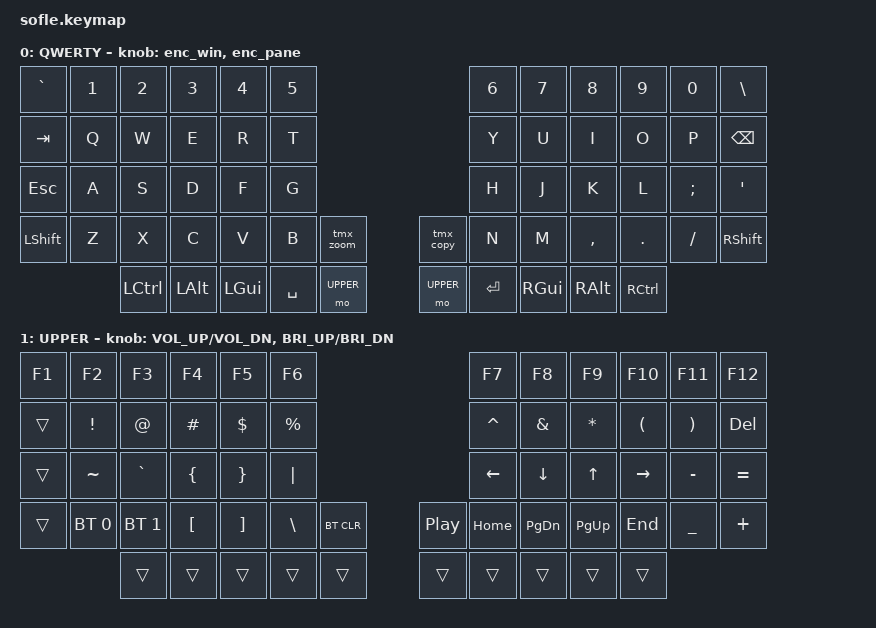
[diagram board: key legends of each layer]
/*
 * Copyright (c) 2020 The ZMK Contributors
 *
 * SPDX-License-Identifier: MIT
 */

#include <behaviors.dtsi>
#include <dt-bindings/zmk/keys.h>
#include <dt-bindings/zmk/bt.h>

#define QWERTY 0
#define UPPER  1

#define TMUX_PREFIX LC(M)

/ {
    macros {
        tmx_wn: tmx_window_next {
            label = "tmx_window_next";
            compatible = "zmk,behavior-macro";
            #binding-cells = <0>;
            wait-ms = <20>;
            tap-ms = <20>;
            bindings = <&kp TMUX_PREFIX>, <&kp U>;
        };
        tmx_wp: tmx_window_prev {
            label = "tmx_window_prev";
            compatible = "zmk,behavior-macro";
            #binding-cells = <0>;
            wait-ms = <20>;
            tap-ms = <20>;
            bindings = <&kp TMUX_PREFIX>, <&kp Y>;
        };
        tmx_pn: tmx_pane_next {
            label = "tmx_pane_next";
            compatible = "zmk,behavior-macro";
            #binding-cells = <0>;
            wait-ms = <20>;
            tap-ms = <20>;
            bindings = <&kp TMUX_PREFIX>, <&kp I>;
        };
        tmx_pp: tmx_pane_prev {
            label = "tmx_pane_prev";
            compatible = "zmk,behavior-macro";
            #binding-cells = <0>;
            wait-ms = <20>;
            tap-ms = <20>;
            bindings = <&kp TMUX_PREFIX>, <&kp H>;
        };
        tmx_zoom: tmx_zoom {
            label = "tmx_zoom";
            compatible = "zmk,behavior-macro";
            #binding-cells = <0>;
            wait-ms = <20>;
            tap-ms = <20>;
            bindings = <&kp TMUX_PREFIX>, <&kp Z>;
        };
        tmx_copy: tmx_copy {
            label = "tmx_copy";
            compatible = "zmk,behavior-macro";
            #binding-cells = <0>;
            wait-ms = <20>;
            tap-ms = <20>;
            bindings = <&kp TMUX_PREFIX>, <&kp LBKT>;
        };
    };

    behaviors {
        enc_win: encoder_window {
            compatible = "zmk,behavior-sensor-rotate";
            #sensor-binding-cells = <0>;
            bindings = <&tmx_wn>, <&tmx_wp>;
        };
        enc_pane: encoder_pane {
            compatible = "zmk,behavior-sensor-rotate";
            #sensor-binding-cells = <0>;
            bindings = <&tmx_pn>, <&tmx_pp>;
        };
    };

    keymap {
        compatible = "zmk,keymap";

        qwerty_layer {
            label = "QWERTY";
            bindings = <
/* ╭──────────┬──────────┬──────────┬──────────┬──────────┬──────────╮                     ╭──────────┬──────────┬──────────┬──────────┬──────────┬──────────╮ */
   &kp GRAVE   &kp N1     &kp N2     &kp N3     &kp N4     &kp N5                            &kp N6     &kp N7     &kp N8     &kp N9     &kp N0     &kp BSLH
/* ├──────────┼──────────┼──────────┼──────────┼──────────┼──────────┤                     ├──────────┼──────────┼──────────┼──────────┼──────────┼──────────┤ */
   &kp TAB    &kp Q      &kp W      &kp E      &kp R      &kp T                             &kp Y      &kp U      &kp I      &kp O      &kp P      &kp BSPC
/* ├──────────┼──────────┼──────────┼──────────┼──────────┼──────────┤                     ├──────────┼──────────┼──────────┼──────────┼──────────┼──────────┤ */
   &kp ESC    &kp A      &kp S      &kp D      &kp F      &kp G                             &kp H      &kp J      &kp K      &kp L      &kp SEMI   &kp SQT
/* ├──────────┼──────────┼──────────┼──────────┼──────────┼──────────┼──────────╮ ╭──────────┼──────────┼──────────┼──────────┼──────────┼──────────┼──────────┤ */
   &kp LSHFT  &kp Z      &kp X      &kp C      &kp V      &kp B      &tmx_zoom    &tmx_copy  &kp N      &kp M      &kp COMMA  &kp DOT    &kp FSLH   &kp RSHFT
/* ╰──────────┴──────────┼──────────┼──────────┼──────────┼──────────┼──────────╯ ╰──────────┼──────────┼──────────┼──────────┼──────────┼──────────╯ */
                          &kp LCTRL  &kp LALT   &kp LGUI   &kp SPACE  &mo UPPER    &mo UPPER  &kp ENTER  &kp RGUI   &kp RALT   &kp RCTRL
/* ╰──────────┴──────────┴──────────┴──────────╯                                              ╰──────────┴──────────┴──────────╯ */
            >;

            sensor-bindings = <&enc_win>, <&enc_pane>;
        };

        upper_layer {
            label = "UPPER";
            bindings = <
/* ╭──────────┬──────────┬──────────┬──────────┬──────────┬──────────╮                     ╭──────────┬──────────┬──────────┬──────────┬──────────┬──────────╮ */
   &kp F1     &kp F2     &kp F3     &kp F4     &kp F5     &kp F6                            &kp F7     &kp F8     &kp F9     &kp F10    &kp F11    &kp F12
/* ├──────────┼──────────┼──────────┼──────────┼──────────┼──────────┤                     ├──────────┼──────────┼──────────┼──────────┼──────────┼──────────┤ */
   &trans     &kp EXCL   &kp AT     &kp HASH   &kp DLLR   &kp PRCNT                         &kp CARET  &kp AMPS   &kp ASTRK  &kp LPAR   &kp RPAR   &kp DEL
/* ├──────────┼──────────┼──────────┼──────────┼──────────┼──────────┤                     ├──────────┼──────────┼──────────┼──────────┼──────────┼──────────┤ */
   &trans     &kp TILDE  &kp GRAVE  &kp LBRC   &kp RBRC   &kp PIPE                          &kp LEFT   &kp DOWN   &kp UP     &kp RIGHT  &kp MINUS  &kp EQUAL
/* ├──────────┼──────────┼──────────┼──────────┼──────────┼──────────┼──────────╮ ╭──────────┼──────────┼──────────┼──────────┼──────────┼──────────┼──────────┤ */
   &trans     &bt BT_SEL 0 &bt BT_SEL 1 &kp LBKT &kp RBKT &kp BSLH   &bt BT_CLR   &kp C_PP   &kp HOME   &kp PG_DN  &kp PG_UP  &kp END    &kp UNDER  &kp PLUS
/* ╰──────────┴──────────┼──────────┼──────────┼──────────┼──────────┼──────────╯ ╰──────────┼──────────┼──────────┼──────────┼──────────┼──────────╯ */
                          &trans     &trans     &trans     &trans     &trans        &trans     &trans     &trans     &trans     &trans
/* ╰──────────┴──────────┴──────────┴──────────╯                                              ╰──────────┴──────────┴──────────╯ */
            >;

            sensor-bindings = <&inc_dec_kp C_VOL_UP C_VOL_DN>, <&inc_dec_kp C_BRI_UP C_BRI_DN>;
        };
    };
};
